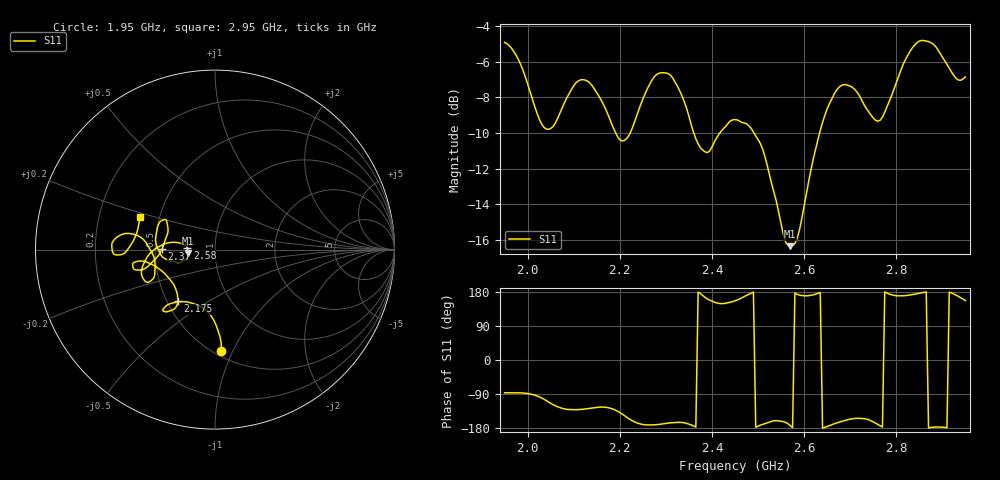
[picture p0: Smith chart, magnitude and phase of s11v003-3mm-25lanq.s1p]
#  HZ  S  DB  R  50.00
! Rohde & Schwarz ZVB4 2Ports - Version 3.20 - 1145.1010k04 SN: 100175
! Date: 2015-12-02 18:28:15
! Measurement: S11
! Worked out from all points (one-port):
!   201 points, 1.95 GHz to 2.95 GHz, reference 50 ohm
!   lowest |S11| = -16.4 dB at 2.57 GHz (marker M1), VSWR 1.36, Z = 36.9 - j1.38 ohm
!   |S11| at or under -10 dB: 2.191 GHz to 2.222 GHz (30.98 MHz wide, 1.4 % of centre); 2.361 GHz to 2.417 GHz (56.26 MHz wide, 2.36 % of centre); 2.491 GHz to 2.634 GHz (142.3 MHz wide, 5.55 % of centre)
!   S11 on the Smith chart (normalised r, x): 1.95 GHz: 0.54, -0.91; 2.175 GHz: 0.57, -0.37; 2.37 GHz: 0.54, +0.00; 2.58 GHz: 0.73, +0.01; 2.95 GHz: 0.39, +0.18
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1.95e9  -4.91 -86.5
1.995e9  -6.84 -87.7
2.035e9  -9.66 -103.2
2.075e9  -8.58 -127.6
2.12e9  -7.00 -130.0
2.175e9  -9.00 -125.9
2.2e9  -10.38 -138.6
2.24e9  -8.78 -167.1
2.275e9  -6.82 -171.1
2.325e9  -7.36 -164.6
2.37e9  -10.61 179.3
2.415e9  -10.07 149.3
2.45e9  -9.24 156.1
2.485e9  -9.73 176.3
2.515e9  -11.32 -168.0
2.57e9  -16.35 -173.1
2.575e9  -16.33 -178.5
2.58e9  -16.20 176.8
2.615e9  -12.05 170.8
2.645e9  -9.00 -177.7
2.7e9  -7.36 -156.1
2.735e9  -8.62 -155.8
2.765e9  -9.28 -173.5
2.795e9  -7.54 170.6
2.825e9  -5.62 170.6
2.855e9  -4.79 177.2
2.9e9  -5.73 -177.1
2.95e9  -6.84 156.8
